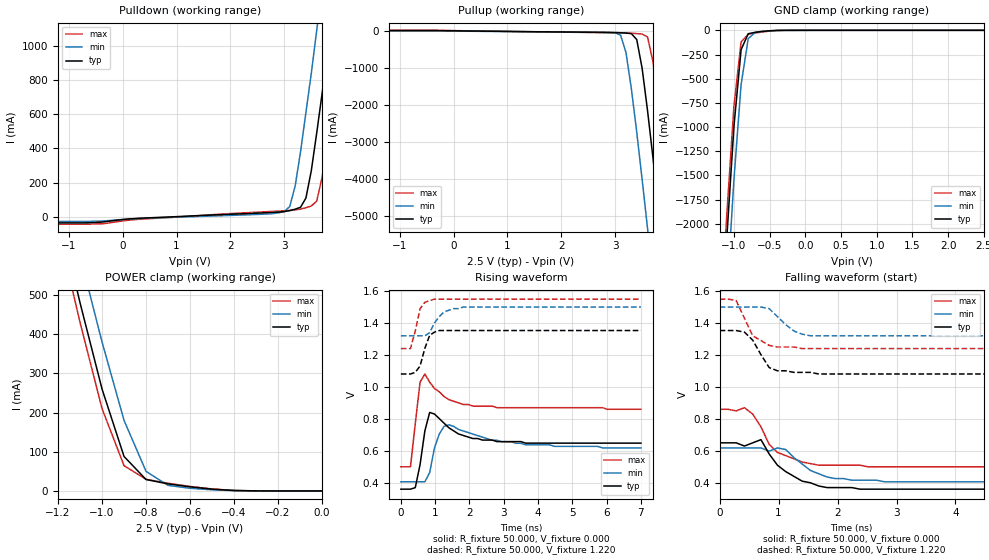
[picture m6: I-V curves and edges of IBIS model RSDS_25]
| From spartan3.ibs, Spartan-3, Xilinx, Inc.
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[Model]   RSDS_25
Model_type   I/O
Polarity   Non-Inverting
Enable   Active-Low
Vinl =   0.95V
Vinh =   1.55V
Vmeas =   1.20V
Cref =  0.000F
Rref =  50.00
Vref =   1.20V
C_comp   6.38pF   4.60pF   8.23pF
[Temperature Range]   25.00   85.00   0.000
[Voltage Range]   2.50V   2.30V   2.70V
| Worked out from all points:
|   slope of the pulldown table from 0 to 0.375 V, typ, clamps not added: 44.4 ohm
|   slope of the pullup table from 0 to 0.375 V, typ, clamps not added: 55.5 ohm
|   GND clamp passes 1 mA (typ) near -0.40 V on its own axis
|   POWER clamp passes 1 mA (typ) near -0.39 V on its own axis
|   rising waveform, R_fixture 50.000, V_fixture 0.000: 20-80 % time 144ps typ, 139ps min, 112ps max; typ from 0.36 V to 0.648 V
|   rising waveform, R_fixture 50.000, V_fixture 1.220: 20-80 % time 232ps typ, 355ps min, 199ps max; typ from 1.08 V to 1.35 V
|   falling waveform, R_fixture 50.000, V_fixture 0.000: 20-80 % time 541ps typ, 526ps min, 473ps max; typ from 0.65 V to 0.36 V
|   falling waveform, R_fixture 50.000, V_fixture 1.220: 20-80 % time 271ps typ, 326ps min, 298ps max; typ from 1.35 V to 1.08 V
[Pulldown]
| voltage   I(typ)   I(min)   I(max)
-2.5V     -34.91mA   -26.42mA   -42.73mA
3V        31.26mA    30.98mA    35.94mA
3.1V      37.03mA    61.02mA    37.74mA
3.2V      45.13mA    180mA      40.55mA
3.4V      110mA      610mA      53.58mA
3.5V      270mA      840mA      63.68mA
3.6V      490mA      1.09A      92.49mA
3.7V      720mA      1.34A      230mA
3.8V      970mA      1.59A      440mA
4V        1.47A      2.1A       920mA
4.2V      1.98A      2.62A      1.42A
5V        4.06A      4.7A       3.49A
[Pullup]
| voltage   I(typ)   I(min)   I(max)
-2.5V     23.88mA    16.32mA    30.63mA
3.1V      -36.67mA   -100mA     -38.86mA
3.2V      -45.15mA   -570mA     -42.36mA
3.3V      -59.85mA   -1.55A     -49.25mA
3.4V      -220mA     -2.73A     -58.91mA
3.5V      -1A        -4.01A     -71.26mA
3.6V      -2.14A     -5.33A     -150mA
3.7V      -3.41A     -6.68A     -810mA
3.8V      -4.74A     -8.04A     -1.92A
4V        -7.47A     -10.8A     -4.5A
4.2V      -10.24A    -13.6A     -7.24A
5V        -21.56A    -24.91A    -18.51A
[GND_clamp]
| voltage   I(typ)   I(min)   I(max)
-2.5V     -21.55A    -22.07A    -21.35A
-1.2V     -3.41A     -4.01A     -3.17A
-1.1V     -2.14A     -2.73A     -1.9A
-1V       -990mA     -1.54A     -780mA
-900mV    -200mA     -560mA     -120mA
-800mV    -35mA      -86.29mA   -40.01mA
-700mV    -20.19mA   -19.86mA   -27.27mA
-400mV    -1mA       -1.93mA    -2.43mA
2.5V      20.49nA    8.23uA     20.47nA
[POWER_clamp]
| voltage   I(typ)   I(min)   I(max)
-2.5V     4.06A      4.18A      4.02A
-1.2V     720mA      840mA      670mA
-1.1V     480mA      600mA      430mA
-1V       260mA      380mA      210mA
-900mV    87.92mA    180mA      64.37mA
-800mV    29.09mA    49.9mA     29.74mA
-700mV    18.01mA    14.08mA    19.57mA
-600mV    10.44mA    6.8mA      11.34mA
-400mV    1.11mA     700uA      1.2mA
0V        20.49nA    80.17nA    27.96nA
[Ramp]
| variable   typ   min   max
dV/dt_r   0.18/79.78p   0.13/0.11n   0.22/71.12p
dV/dt_f   0.14/83.03p   79.20m/0.13n   0.18/82.40p
R_load = 50.00
[Rising Waveform]
R_fixture = 50.000
V_fixture = 0.000
|  time   V(typ)   V(min)   V(max)
0s        359.9mV    406.1mV    500mV
280ps     359.9mV    406.1mV    500mV
420ps     369.5mV    406.1mV    770mV
560ps     513.6mV    406.1mV    1.03V
700ps     724.9mV    406.1mV    1.08V
840ps     840.1mV    463.9mV    1.03V
1.12ns    801.7mV    704.9mV    970mV
1.4ns     744.1mV    762.7mV    920mV
3.64ns    648mV      637.4mV    870mV
7ns       648mV      618.1mV    860mV
[Rising Waveform]
R_fixture = 50.000
V_fixture = 1.220
V_fixture_min = 1.420
V_fixture_max = 1.420
|  time   V(typ)   V(min)   V(max)
0s        1.081V     1.32V      1.24V
280ps     1.081V     1.32V      1.24V
420ps     1.091V     1.32V      1.35V
560ps     1.131V     1.32V      1.49V
700ps     1.242V     1.32V      1.53V
840ps     1.323V     1.34V      1.54V
980ps     1.343V     1.4V       1.55V
1.26ns    1.353V     1.47V      1.55V
1.82ns    1.353V     1.5V       1.55V
7ns       1.353V     1.5V       1.55V
[Falling Waveform]
R_fixture = 50.000
V_fixture = 0.000
|  time   V(typ)   V(min)   V(max)
0s        650mV      618.1mV    860mV
420ps     630mV      618.1mV    870mV
560ps     650mV      618.1mV    830mV
700ps     670mV      618.1mV    750mV
840ps     580mV      597.9mV    640mV
980ps     510mV      618.1mV    590mV
1.12ns    470mV      608mV      570mV
1.68ns    380mV      456.6mV    510mV
2.8ns     360mV      406.1mV    500mV
7ns       360mV      406.1mV    500mV
[Falling Waveform]
R_fixture = 50.000
V_fixture = 1.220
V_fixture_min = 1.420
V_fixture_max = 1.420
|  time   V(typ)   V(min)   V(max)
0s        1.353V     1.5V       1.55V
280ps     1.353V     1.5V       1.54V
420ps     1.343V     1.5V       1.43V
560ps     1.293V     1.5V       1.32V
840ps     1.121V     1.49V      1.26V
980ps     1.101V     1.44V      1.25V
1.26ns    1.091V     1.35V      1.25V
1.54ns    1.091V     1.32V      1.24V
1.68ns    1.081V     1.32V      1.24V
7ns       1.081V     1.32V      1.24V
